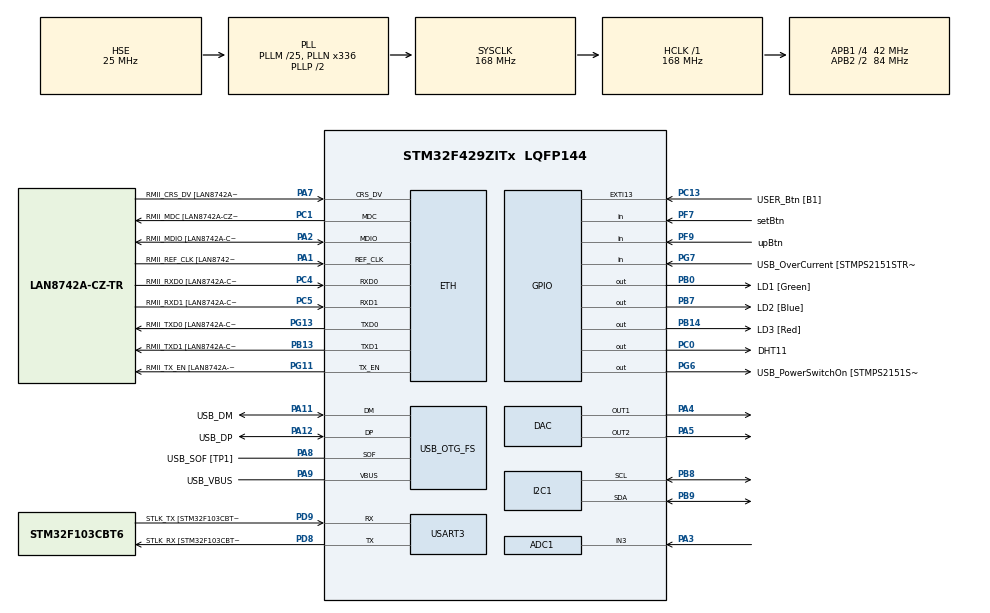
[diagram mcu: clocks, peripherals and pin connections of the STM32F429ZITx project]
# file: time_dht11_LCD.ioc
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ADC1.Channel-0\#ChannelRegularConversion=ADC_CHANNEL_3
ADC1.NbrOfConversionFlag=1
ADC1.Rank-0\#ChannelRegularConversion=1
ADC1.SamplingTime-0\#ChannelRegularConversion=ADC_SAMPLETIME_3CYCLES
ADC1.master=1
ETH.MediaInterface=HAL_ETH_RMII_MODE
ETH.PHY_Name=LAN8742A_PHY_ADDRESS
ETH.PHY_Value=0
ETH.PhyAddress=0
Mcu.Family=STM32F4
Mcu.Name=STM32F429ZITx
Mcu.Package=LQFP144
NVIC.PriorityGroup=NVIC_PRIORITYGROUP_4
NVIC.RTC_Alarm_IRQn=true\:0\:0\:false\:true\:true\:1\:true\:true\:true
NVIC.TIM2_IRQn=true\:0\:0\:false\:true\:true\:2\:true\:true\:true
PA1.GPIO_Label=RMII_REF_CLK [LAN8742A-CZ-TR_REFCLK0]
PA1.Mode=RMII
PA1.Signal=ETH_REF_CLK
PA10.GPIO_Label=USB_ID
PA10.Signal=USB_OTG_FS_ID
PA11.GPIO_Label=USB_DM
PA11.Mode=Device_Only
PA11.Signal=USB_OTG_FS_DM
PA12.GPIO_Label=USB_DP
PA12.Mode=Device_Only
PA12.Signal=USB_OTG_FS_DP
PA13.GPIO_Label=TMS
PA13.Mode=Serial_Wire
PA13.Signal=SYS_JTMS-SWDIO
PA14.GPIO_Label=TCK
PA14.Mode=Serial_Wire
PA14.Signal=SYS_JTCK-SWCLK
PA2.GPIO_Label=RMII_MDIO [LAN8742A-CZ-TR_MDIO]
PA2.Mode=RMII
PA2.Signal=ETH_MDIO
PA3.Signal=ADCx_IN3
PA4.Signal=COMP_DAC1_group
PA5.Signal=COMP_DAC2_group
PA7.GPIO_Label=RMII_CRS_DV [LAN8742A-CZ-TR_CRS_DV]
PA7.Mode=RMII
PA7.Signal=ETH_CRS_DV
PA8.GPIO_Label=USB_SOF [TP1]
PA8.Mode=Activate_SOF_FS
PA8.Signal=USB_OTG_FS_SOF
PA9.GPIO_Label=USB_VBUS
PA9.Mode=Activate_VBUS
PA9.Signal=USB_OTG_FS_VBUS
PB0.GPIO_Label=LD1 [Green]
PB0.Signal=GPIO_Output
PB13.GPIO_Label=RMII_TXD1 [LAN8742A-CZ-TR_TXD1]
PB13.Mode=RMII
PB13.Signal=ETH_TXD1
PB14.GPIO_Label=LD3 [Red]
PB14.Signal=GPIO_Output
PB7.GPIO_Label=LD2 [Blue]
PB7.Signal=GPIO_Output
PB8.Mode=I2C
PB8.Signal=I2C1_SCL
PB9.Mode=I2C
PB9.Signal=I2C1_SDA
PC0.GPIO_Label=DHT11
PC0.GPIO_Speed=GPIO_SPEED_FREQ_LOW
PC0.PinState=GPIO_PIN_SET
PC0.Signal=GPIO_Output
PC1.GPIO_Label=RMII_MDC [LAN8742A-CZ-TR_MDC]
PC1.Mode=RMII
PC1.Signal=ETH_MDC
PC13.GPIO_Label=USER_Btn [B1]
PC13.Signal=GPXTI13
PC14/OSC32_IN.Mode=LSE-External-Oscillator
PC14/OSC32_IN.Signal=RCC_OSC32_IN
PC15/OSC32_OUT.Mode=LSE-External-Oscillator
PC15/OSC32_OUT.Signal=RCC_OSC32_OUT
PC4.GPIO_Label=RMII_RXD0 [LAN8742A-CZ-TR_RXD0]
PC4.Mode=RMII
PC4.Signal=ETH_RXD0
PC5.GPIO_Label=RMII_RXD1 [LAN8742A-CZ-TR_RXD1]
PC5.Mode=RMII
PC5.Signal=ETH_RXD1
PD8.GPIO_Label=STLK_RX [STM32F103CBT6_PA3]
PD8.Mode=Asynchronous
PD8.Signal=USART3_TX
PD9.GPIO_Label=STLK_TX [STM32F103CBT6_PA2]
PD9.Mode=Asynchronous
PD9.Signal=USART3_RX
PF7.GPIO_Label=setBtn
PF7.GPIO_PuPd=GPIO_PULLUP
PF7.Signal=GPIO_Input
PF9.GPIO_Label=upBtn
PF9.GPIO_PuPd=GPIO_PULLUP
PF9.Signal=GPIO_Input
PG11.GPIO_Label=RMII_TX_EN [LAN8742A-CZ-TR_TXEN]
PG11.Mode=RMII
PG11.Signal=ETH_TX_EN
PG13.GPIO_Label=RMII_TXD0 [LAN8742A-CZ-TR_TXD0]
PG13.Mode=RMII
PG13.Signal=ETH_TXD0
PG6.GPIO_Label=USB_PowerSwitchOn [STMPS2151STR_EN]
PG6.Signal=GPIO_Output
PG7.GPIO_Label=USB_OverCurrent [STMPS2151STR_FAULT]
PG7.Signal=GPIO_Input
PH0/OSC_IN.GPIO_Label=MCO [STM32F103CBT6_PA8]
PH0/OSC_IN.Mode=HSE-External-Clock-Source
PH0/OSC_IN.Signal=RCC_OSC_IN
PH1/OSC_OUT.Mode=HSE-External-Clock-Source
PH1/OSC_OUT.Signal=RCC_OSC_OUT
ProjectManager.HeapSize=0x200
ProjectManager.StackSize=0x400
ProjectManager.TargetToolchain=STM32CubeIDE
RCC.48MHZClocksFreq_Value=48000000
RCC.AHBFreq_Value=168000000
RCC.APB1CLKDivider=RCC_HCLK_DIV4
RCC.APB1Freq_Value=42000000
RCC.APB1TimFreq_Value=84000000
RCC.APB2CLKDivider=RCC_HCLK_DIV2
RCC.APB2Freq_Value=84000000
RCC.APB2TimFreq_Value=168000000
RCC.CortexFreq_Value=168000000
RCC.HCLKFreq_Value=168000000
RCC.HSE_VALUE=25000000
RCC.HSI_VALUE=16000000
RCC.PLLM=25
RCC.PLLMUL=RCC_PLL_MUL9
RCC.PLLN=336
RCC.PLLQ=7
RCC.PRESCALERUSB=RCC_USBCLKSOURCE_PLL_DIV1_5
RCC.RCC_RTC_Clock_Source=RCC_RTCCLKSOURCE_LSE
RCC.RCC_RTC_Clock_SourceVirtual=RCC_RTCCLKSOURCE_LSE
RCC.SYSCLKFreq_VALUE=168000000
RCC.SYSCLKSource=RCC_SYSCLKSOURCE_PLLCLK
RCC.SYSCLKSourceVirtual=RCC_SYSCLKSOURCE_PLLCLK
RCC.USBFreq_Value=48000000
RCC.VCOOutputFreq_Value=336000000
RTC.Alarm=RTC_ALARM_A
RTC.HourFormat=RTC_HOURFORMAT_12
RTC.Hours=12
RTC.TimeFormat=RTC_HOURFORMAT12_PM
RTC.Year=23
SH.ADCx_IN3.0=ADC1_IN3,IN3
SH.COMP_DAC1_group.0=DAC_OUT1,DAC_OUT1
SH.COMP_DAC2_group.0=DAC_OUT2,DAC_OUT2
TIM2.Period=50000-1
TIM2.Prescaler=8400-1
USART3.VirtualMode=VM_ASYNC
USB_OTG_FS.VirtualMode=Device_Only
VP_RTC_VS_RTC_Activate.Mode=RTC_Enabled
VP_RTC_VS_RTC_Alarm_A_Intern.Mode=Alarm A
VP_RTC_VS_RTC_Calendar.Mode=RTC_Calendar
VP_TIM2_VS_ClockSourceINT.Mode=Internal
board=NUCLEO-F429ZI

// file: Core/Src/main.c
/* USER CODE BEGIN Header */
/**
  ******************************************************************************
  * @file           : main.c
  * @brief          : Main program body
  ******************************************************************************
  * @attention
  *
  * Copyright (c) 2023 STMicroelectronics.
  * All rights reserved.
  *
  * This software is licensed under terms that can be found in the LICENSE file
  * in the root directory of this software component.
  * If no LICENSE file comes with this software, it is provided AS-IS.
  *
  ******************************************************************************
  */
/* USER CODE END Header */
#include "main.h"
#include "string.h"

/* USER CODE BEGIN Includes */
#include "stdio.h"
#include "string.h"
/* USER CODE END Includes */

ETH_TxPacketConfig TxConfig;
ETH_DMADescTypeDef  DMARxDscrTab[ETH_RX_DESC_CNT]; /* Ethernet Rx DMA Descriptors */
ETH_DMADescTypeDef  DMATxDscrTab[ETH_TX_DESC_CNT]; /* Ethernet Tx DMA Descriptors */

ADC_HandleTypeDef hadc1;

DAC_HandleTypeDef hdac;

ETH_HandleTypeDef heth;

I2C_HandleTypeDef hi2c1;

RTC_HandleTypeDef hrtc;

TIM_HandleTypeDef htim2;

UART_HandleTypeDef huart3;

PCD_HandleTypeDef hpcd_USB_OTG_FS;

/* USER CODE BEGIN PV */
RTC_DateTypeDef sDate;
RTC_TimeTypeDef sTime;
char showTime[30] = {0};
char showDate[30] = {0};
char ampm[2][3] = {"AM", "PM"};
/* USER CODE END PV */

void SystemClock_Config(void);
static void MX_GPIO_Init(void);
static void MX_ETH_Init(void);
static void MX_USART3_UART_Init(void);
static void MX_USB_OTG_FS_PCD_Init(void);
static void MX_I2C1_Init(void);
static void MX_ADC1_Init(void);
static void MX_DAC_Init(void);
static void MX_RTC_Init(void);
static void MX_TIM2_Init(void);
static void MX_NVIC_Init(void);
/* USER CODE BEGIN PFP */
int _write(int file, char *ptr, int len) {
	HAL_UART_Transmit(&huart3, (uint8_t *)ptr, len, 500);
	return len;
}

int __io_putchar(int ch) {
	HAL_UART_Transmit(&huart3, (uint8_t *)&ch, 1, 1000);
	return ch;
}
/* USER CODE END PFP */

/* USER CODE BEGIN 0 */
extern void I2C_Scan(void);
void init();

//void delay(uint16_t time) {
//	__HAL_TIM_SET_COUNTER(&htim2, 0);
//	while ((__HAL_TIM_GET_COUNTER(&htim2)) < time);
//}
//
//uint8_t Rh_byte1, Rh_byte2, Temp_byte1, Temp_byte2;
//uint16_t SUM, RH, TEMP;
//
//float Temperature = 0;
//float Humidity = 0;
//uint8_t Presence = 0;
//
//void Set_Pin_Output(GPIO_TypeDef *GPIOx, uint16_t GPIO_Pin) {
//	GPIO_InitTypeDef GPIO_InitStruct = {0};
//	GPIO_InitStruct.Pin = GPIO_Pin;
//	GPIO_InitStruct.Mode = GPIO_MODE_OUTPUT_PP;
//	GPIO_InitStruct.Speed = GPIO_SPEED_FREQ_LOW;
//	HAL_GPIO_Init(GPIOx, &GPIO_InitStruct);
//}
//void Set_Pin_Input(GPIO_TypeDef *GPIOx, uint16_t GPIO_Pin) {
//	GPIO_InitTypeDef GPIO_InitStruct = {0};
//	GPIO_InitStruct.Pin = GPIO_Pin;
//	GPIO_InitStruct.Mode = GPIO_MODE_INPUT;
//	GPIO_InitStruct.Pull = GPIO_NOPULL;
//	HAL_GPIO_Init(GPIOx, &GPIO_InitStruct);
//}
//
//#define DHT11_PORT GPIOC
//#define DHT11_PIN GPIO_PIN_0
//
//void DHT11_Start (void)
//{
//	Set_Pin_Output(DHT11_PORT, DHT11_PIN);  // set the pin as output
//	HAL_GPIO_WritePin (DHT11_PORT, DHT11_PIN, 0);   // pull the pin low
//	delay (18000);   // wait for 18ms
//	Set_Pin_Input(GPIOC, DHT11_Pin);    // set as input
//}
//uint8_t DHT11_Check_Response (void) {
//	uint8_t Response = 0;
//	delay(40);
//	if (!(HAL_GPIO_ReadPin(DHT11_PORT, DHT11_PIN))) {
//		delay(80);
//		if ((HAL_GPIO_ReadPin (DHT11_PORT, DHT11_PIN))) Response = 1;
//		else Response = -1; // 255
//	}
//	while ((HAL_GPIO_ReadPin (DHT11_PORT, DHT11_PIN)));
//
//	return Response;
//}
//
//uint8_t DHT11_Read(void) {
//	uint8_t i, j;
//	for (j = 0; j < 8; j++) {
//		while (!(HAL_GPIO_ReadPin(GPIOC, DHT11_PIN)));
//		delay(20);
//		if (!(HAL_GPIO_ReadPin(DHT11_PORT, DHT11_PIN))) // if the pin is low
//		{
//			i &= ~(1 << (7 - j));   // write 0
//		} else
//			i |= (1 << (7 - j));  // if the pin is high, write 1
//		while ((HAL_GPIO_ReadPin(DHT11_PORT, DHT11_PIN)));
//	}
//	return i;
//}

#define LCD_ADDR (0x27 << 1)

//void Display_Temp (float Temp) {
//	char str[20] = {0};
//	sprintf(str, "TEMP:- %.2f C", Temp);
//	LCD_SendCommand(LCD_ADDR, 0b10000000);
//	LCD_SendString(LCD_ADDR, str);
//}
//
//void Display_Rh (float Rh) {
//	char str[20] = {0};
//	sprintf(str, "RH:- %.2f %%", Rh);
//	LCD_SendCommand(LCD_ADDR, 0b11000000);
//	LCD_SendString(LCD_ADDR, str);
//}
void get_time(void) {
//	RTC_DateTypeDef sDate;
//	RTC_TimeTypeDef sTime;

	HAL_RTC_GetTime(&hrtc, &sTime, RTC_FORMAT_BIN);
	HAL_RTC_GetDate(&hrtc, &sDate, RTC_FORMAT_BIN);

	sprintf((char *)showTime, "%s %02d : %02d : %02d", ampm[sTime.TimeFormat], sTime.Hours, sTime.Minutes, sTime.Seconds);
	sprintf((char *)showDate, "%04d-%02d-%02d", 2000 + sDate.Year, sDate.Month, sDate.Date);
}

//void set_time(uint8_t hh, uint8_t mm, uint8_t ss) {
//	RTC_TimeTypeDef sTime;
//
//	sTime.Hours = hh; // set hours
//	sTime.Minutes = mm; // set minutes
//	sTime.Seconds = ss; // set seconds
//
//	HAL_RTC_SetTime(&hrtc, &sTime, RTC_FORMAT_BIN);
//}

void set_Date(uint8_t ww, uint8_t mm, uint8_t dd, uint8_t yy) {
	RTC_DateTypeDef sDate;

	sDate.WeekDay = ww; // date RTC_WEEKDAY_THURSDAY
	sDate.Month = mm; // month RTC_MONTH_FEBRUARY
	sDate.Date = dd; // date
	sDate.Year = yy; // year

	HAL_RTC_SetDate(&hrtc, &sDate, RTC_FORMAT_BIN);
}

/* USER CODE END 0 */

int main(void)
{

  /* MCU Configuration--------------------------------------------------------*/

  /* Reset of all peripherals, Initializes the Flash interface and the Systick. */
  HAL_Init();

  /* Configure the system clock */
  SystemClock_Config();

  /* Initialize all configured peripherals */
  MX_GPIO_Init();
  MX_ETH_Init();
  MX_USART3_UART_Init();
  MX_USB_OTG_FS_PCD_Init();
  MX_I2C1_Init();
  MX_ADC1_Init();
  MX_DAC_Init();
  MX_RTC_Init();
  MX_TIM2_Init();

  /* Initialize interrupts */
  MX_NVIC_Init();
  /* USER CODE BEGIN 2 */
//  set_time(11, 59, 50);
  set_Date(RTC_WEEKDAY_MONDAY, 10, 27, 23);
//	init();

	I2C_Scan();
	LCD_Init(LCD_ADDR);
	int setmode = 0;

	uint32_t current_tick_1;
	uint32_t current_tick_2;
	uint32_t old_tick_1;
	uint32_t old_tick_2;

	void setModeCheck(int n) {
		if (n == 1) {
			HAL_GPIO_WritePin(GPIOB, LD1_Pin, 1);
			HAL_GPIO_WritePin(GPIOB, LD2_Pin, 0);
			HAL_GPIO_WritePin(GPIOB, LD3_Pin, 0);
		}
		else if (n == 2) {
			HAL_GPIO_WritePin(GPIOB, LD1_Pin, 0);
			HAL_GPIO_WritePin(GPIOB, LD2_Pin, 1);
			HAL_GPIO_WritePin(GPIOB, LD3_Pin, 0);
		}
		else if (n == 3) {
			HAL_GPIO_WritePin(GPIOB, LD1_Pin, 0);
			HAL_GPIO_WritePin(GPIOB, LD2_Pin, 0);
			HAL_GPIO_WritePin(GPIOB, LD3_Pin, 1);
		}
		else {
			HAL_GPIO_WritePin(GPIOB, LD3_Pin, 0);
		}
	}
	HAL_TIM_Base_Start(&htim2);

  /* USER CODE END 2 */

  /* Infinite loop */
  /* USER CODE BEGIN WHILE */
  while (1)
  {
	setModeCheck(setmode);
	get_time();
	// set address to 0x00
	LCD_SendCommand(LCD_ADDR, 0b10000000);
	LCD_SendString(LCD_ADDR, showDate);

	// set address to 0x40
	LCD_SendCommand(LCD_ADDR, 0b11000000);
	LCD_SendString(LCD_ADDR, showTime);

	if (HAL_GPIO_ReadPin(GPIOF, setBtn_Pin) == 0) {
		current_tick_1 = HAL_GetTick();
	}
	if (HAL_GPIO_ReadPin(GPIOF, upBtn_Pin) == 0) {
		current_tick_2 = HAL_GetTick();
	}

	if (HAL_GPIO_ReadPin(GPIOF, setBtn_Pin) == 0 && (current_tick_1 - old_tick_1 > 300) ) {
		  setmode++;
		  if (setmode == 4) setmode = 0;
		  old_tick_1 = current_tick_1;
	}

	if (setmode == 0) {
//		HAL_Delay(1000);
	}
	else if (HAL_GPIO_ReadPin(GPIOF, upBtn_Pin) == 0 && (current_tick_2 - old_tick_2 > 300)) {
		if (setmode == 1) sTime.Hours = (sTime.Hours + 1) % 13;
		if (setmode == 2) sTime.Minutes = (sTime.Minutes + 1) % 60;
		if (setmode == 3) sTime.Seconds = (sTime.Seconds + 1) % 60;

		HAL_RTC_SetTime(&hrtc, &sTime, RTC_FORMAT_BIN);
		old_tick_2 = current_tick_2;
   }

    /* USER CODE END WHILE */

  }
}

void SystemClock_Config(void)
{
  RCC_OscInitTypeDef RCC_OscInitStruct = {0};
  RCC_ClkInitTypeDef RCC_ClkInitStruct = {0};

  /** Configure the main internal regulator output voltage
  */
  __HAL_RCC_PWR_CLK_ENABLE();
  __HAL_PWR_VOLTAGESCALING_CONFIG(PWR_REGULATOR_VOLTAGE_SCALE1);

  /** Initializes the RCC Oscillators according to the specified parameters
  * in the RCC_OscInitTypeDef structure.
  */
  RCC_OscInitStruct.OscillatorType = RCC_OSCILLATORTYPE_HSE|RCC_OSCILLATORTYPE_LSE;
  RCC_OscInitStruct.HSEState = RCC_HSE_BYPASS;
  RCC_OscInitStruct.LSEState = RCC_LSE_ON;
  RCC_OscInitStruct.PLL.PLLState = RCC_PLL_ON;
  RCC_OscInitStruct.PLL.PLLSource = RCC_PLLSOURCE_HSE;
  RCC_OscInitStruct.PLL.PLLM = 25;
  RCC_OscInitStruct.PLL.PLLN = 336;
  RCC_OscInitStruct.PLL.PLLP = RCC_PLLP_DIV2;
  RCC_OscInitStruct.PLL.PLLQ = 7;
  if (HAL_RCC_OscConfig(&RCC_OscInitStruct) != HAL_OK)
  {
    Error_Handler();
  }

  /** Initializes the CPU, AHB and APB buses clocks
  */
  RCC_ClkInitStruct.ClockType = RCC_CLOCKTYPE_HCLK|RCC_CLOCKTYPE_SYSCLK
                              |RCC_CLOCKTYPE_PCLK1|RCC_CLOCKTYPE_PCLK2;
  RCC_ClkInitStruct.SYSCLKSource = RCC_SYSCLKSOURCE_PLLCLK;
  RCC_ClkInitStruct.AHBCLKDivider = RCC_SYSCLK_DIV1;
  RCC_ClkInitStruct.APB1CLKDivider = RCC_HCLK_DIV4;
  RCC_ClkInitStruct.APB2CLKDivider = RCC_HCLK_DIV2;

  if (HAL_RCC_ClockConfig(&RCC_ClkInitStruct, FLASH_LATENCY_5) != HAL_OK)
  {
    Error_Handler();
  }
}

/**
  * @brief NVIC Configuration.
  * @retval None
  */
static void MX_NVIC_Init(void)
{
  /* RTC_Alarm_IRQn interrupt configuration */
  HAL_NVIC_SetPriority(RTC_Alarm_IRQn, 0, 0);
  HAL_NVIC_EnableIRQ(RTC_Alarm_IRQn);
  /* TIM2_IRQn interrupt configuration */
  HAL_NVIC_SetPriority(TIM2_IRQn, 0, 0);
  HAL_NVIC_EnableIRQ(TIM2_IRQn);
}

static void MX_ADC1_Init(void)
{

  ADC_ChannelConfTypeDef sConfig = {0};

  /** Configure the global features of the ADC (Clock, Resolution, Data Alignment and number of conversion)
  */
  hadc1.Instance = ADC1;
  hadc1.Init.ClockPrescaler = ADC_CLOCK_SYNC_PCLK_DIV4;
  hadc1.Init.Resolution = ADC_RESOLUTION_12B;
  hadc1.Init.ScanConvMode = DISABLE;
  hadc1.Init.ContinuousConvMode = DISABLE;
  hadc1.Init.DiscontinuousConvMode = DISABLE;
  hadc1.Init.ExternalTrigConvEdge = ADC_EXTERNALTRIGCONVEDGE_NONE;
  hadc1.Init.ExternalTrigConv = ADC_SOFTWARE_START;
  hadc1.Init.DataAlign = ADC_DATAALIGN_RIGHT;
  hadc1.Init.NbrOfConversion = 1;
  hadc1.Init.DMAContinuousRequests = DISABLE;
  hadc1.Init.EOCSelection = ADC_EOC_SINGLE_CONV;
  if (HAL_ADC_Init(&hadc1) != HAL_OK)
  {
    Error_Handler();
  }

  /** Configure for the selected ADC regular channel its corresponding rank in the sequencer and its sample time.
  */
  sConfig.Channel = ADC_CHANNEL_3;
  sConfig.Rank = 1;
  sConfig.SamplingTime = ADC_SAMPLETIME_3CYCLES;
  if (HAL_ADC_ConfigChannel(&hadc1, &sConfig) != HAL_OK)
  {
    Error_Handler();
  }

}

static void MX_DAC_Init(void)
{

  DAC_ChannelConfTypeDef sConfig = {0};

  /** DAC Initialization
  */
  hdac.Instance = DAC;
  if (HAL_DAC_Init(&hdac) != HAL_OK)
  {
    Error_Handler();
  }

  /** DAC channel OUT1 config
  */
  sConfig.DAC_Trigger = DAC_TRIGGER_NONE;
  sConfig.DAC_OutputBuffer = DAC_OUTPUTBUFFER_ENABLE;
  if (HAL_DAC_ConfigChannel(&hdac, &sConfig, DAC_CHANNEL_1) != HAL_OK)
  {
    Error_Handler();
  }

  /** DAC channel OUT2 config
  */
  if (HAL_DAC_ConfigChannel(&hdac, &sConfig, DAC_CHANNEL_2) != HAL_OK)
  {
    Error_Handler();
  }

}

static void MX_ETH_Init(void)
{

   static uint8_t MACAddr[6];

  heth.Instance = ETH;
  MACAddr[0] = 0x00;
  MACAddr[1] = 0x80;
  MACAddr[2] = 0xE1;
  MACAddr[3] = 0x00;
  MACAddr[4] = 0x00;
  MACAddr[5] = 0x00;
  heth.Init.MACAddr = &MACAddr[0];
  heth.Init.MediaInterface = HAL_ETH_RMII_MODE;
  heth.Init.TxDesc = DMATxDscrTab;
  heth.Init.RxDesc = DMARxDscrTab;
  heth.Init.RxBuffLen = 1524;

  if (HAL_ETH_Init(&heth) != HAL_OK)
  {
    Error_Handler();
  }

  memset(&TxConfig, 0 , sizeof(ETH_TxPacketConfig));
  TxConfig.Attributes = ETH_TX_PACKETS_FEATURES_CSUM | ETH_TX_PACKETS_FEATURES_CRCPAD;
  TxConfig.ChecksumCtrl = ETH_CHECKSUM_IPHDR_PAYLOAD_INSERT_PHDR_CALC;
  TxConfig.CRCPadCtrl = ETH_CRC_PAD_INSERT;

}

static void MX_I2C1_Init(void)
{

  hi2c1.Instance = I2C1;
  hi2c1.Init.ClockSpeed = 100000;
  hi2c1.Init.DutyCycle = I2C_DUTYCYCLE_2;
  hi2c1.Init.OwnAddress1 = 0;
  hi2c1.Init.AddressingMode = I2C_ADDRESSINGMODE_7BIT;
  hi2c1.Init.DualAddressMode = I2C_DUALADDRESS_DISABLE;
  hi2c1.Init.OwnAddress2 = 0;
  hi2c1.Init.GeneralCallMode = I2C_GENERALCALL_DISABLE;
  hi2c1.Init.NoStretchMode = I2C_NOSTRETCH_DISABLE;
  if (HAL_I2C_Init(&hi2c1) != HAL_OK)
  {
    Error_Handler();
  }

  /** Configure Analogue filter
  */
  if (HAL_I2CEx_ConfigAnalogFilter(&hi2c1, I2C_ANALOGFILTER_ENABLE) != HAL_OK)
  {
    Error_Handler();
  }

  /** Configure Digital filter
  */
  if (HAL_I2CEx_ConfigDigitalFilter(&hi2c1, 0) != HAL_OK)
  {
    Error_Handler();
  }

}

static void MX_RTC_Init(void)
{

  RTC_TimeTypeDef sTime = {0};
  RTC_DateTypeDef sDate = {0};
  RTC_AlarmTypeDef sAlarm = {0};

  /** Initialize RTC Only
  */
  hrtc.Instance = RTC;
  hrtc.Init.HourFormat = RTC_HOURFORMAT_12;
  hrtc.Init.AsynchPrediv = 127;
  hrtc.Init.SynchPrediv = 255;
  hrtc.Init.OutPut = RTC_OUTPUT_DISABLE;
  hrtc.Init.OutPutPolarity = RTC_OUTPUT_POLARITY_HIGH;
  hrtc.Init.OutPutType = RTC_OUTPUT_TYPE_OPENDRAIN;
  if (HAL_RTC_Init(&hrtc) != HAL_OK)
  {
    Error_Handler();
  }

  /** Initialize RTC and set the Time and Date
  */
  sTime.Hours = 0x12;
  sTime.Minutes = 0x0;
  sTime.Seconds = 0x0;
  sTime.TimeFormat = RTC_HOURFORMAT12_PM;
  sTime.DayLightSaving = RTC_DAYLIGHTSAVING_NONE;
  sTime.StoreOperation = RTC_STOREOPERATION_RESET;
  if (HAL_RTC_SetTime(&hrtc, &sTime, RTC_FORMAT_BCD) != HAL_OK)
  {
    Error_Handler();
  }
  sDate.WeekDay = RTC_WEEKDAY_MONDAY;
  sDate.Month = RTC_MONTH_JANUARY;
  sDate.Date = 0x1;
  sDate.Year = 0x23;

  if (HAL_RTC_SetDate(&hrtc, &sDate, RTC_FORMAT_BCD) != HAL_OK)
  {
    Error_Handler();
  }

  /** Enable the Alarm A
  */
  sAlarm.AlarmTime.Hours = 0x1;
  sAlarm.AlarmTime.Minutes = 0x0;
  sAlarm.AlarmTime.Seconds = 0x0;
  sAlarm.AlarmTime.SubSeconds = 0x0;
  sAlarm.AlarmTime.TimeFormat = RTC_HOURFORMAT12_PM;
  sAlarm.AlarmTime.DayLightSaving = RTC_DAYLIGHTSAVING_NONE;
  sAlarm.AlarmTime.StoreOperation = RTC_STOREOPERATION_RESET;
  sAlarm.AlarmMask = RTC_ALARMMASK_NONE;
  sAlarm.AlarmSubSecondMask = RTC_ALARMSUBSECONDMASK_ALL;
  sAlarm.AlarmDateWeekDaySel = RTC_ALARMDATEWEEKDAYSEL_DATE;
  sAlarm.AlarmDateWeekDay = 0x1;
  sAlarm.Alarm = RTC_ALARM_A;
  if (HAL_RTC_SetAlarm_IT(&hrtc, &sAlarm, RTC_FORMAT_BCD) != HAL_OK)
  {
    Error_Handler();
  }

}

static void MX_TIM2_Init(void)
{

  TIM_ClockConfigTypeDef sClockSourceConfig = {0};
  TIM_MasterConfigTypeDef sMasterConfig = {0};

  htim2.Instance = TIM2;
  htim2.Init.Prescaler = 8400-1;
  htim2.Init.CounterMode = TIM_COUNTERMODE_UP;
  htim2.Init.Period = 50000-1;
  htim2.Init.ClockDivision = TIM_CLOCKDIVISION_DIV1;
  htim2.Init.AutoReloadPreload = TIM_AUTORELOAD_PRELOAD_DISABLE;
  if (HAL_TIM_Base_Init(&htim2) != HAL_OK)
  {
    Error_Handler();
  }
  sClockSourceConfig.ClockSource = TIM_CLOCKSOURCE_INTERNAL;
  if (HAL_TIM_ConfigClockSource(&htim2, &sClockSourceConfig) != HAL_OK)
  {
    Error_Handler();
  }
  sMasterConfig.MasterOutputTrigger = TIM_TRGO_RESET;
  sMasterConfig.MasterSlaveMode = TIM_MASTERSLAVEMODE_DISABLE;
  if (HAL_TIMEx_MasterConfigSynchronization(&htim2, &sMasterConfig) != HAL_OK)
  {
    Error_Handler();
  }

}

static void MX_USART3_UART_Init(void)
{

  huart3.Instance = USART3;
  huart3.Init.BaudRate = 115200;
  huart3.Init.WordLength = UART_WORDLENGTH_8B;
  huart3.Init.StopBits = UART_STOPBITS_1;
  huart3.Init.Parity = UART_PARITY_NONE;
  huart3.Init.Mode = UART_MODE_TX_RX;
  huart3.Init.HwFlowCtl = UART_HWCONTROL_NONE;
  huart3.Init.OverSampling = UART_OVERSAMPLING_16;
  if (HAL_UART_Init(&huart3) != HAL_OK)
  {
    Error_Handler();
  }

}

static void MX_USB_OTG_FS_PCD_Init(void)
{

  hpcd_USB_OTG_FS.Instance = USB_OTG_FS;
  hpcd_USB_OTG_FS.Init.dev_endpoints = 4;
  hpcd_USB_OTG_FS.Init.speed = PCD_SPEED_FULL;
  hpcd_USB_OTG_FS.Init.dma_enable = DISABLE;
  hpcd_USB_OTG_FS.Init.phy_itface = PCD_PHY_EMBEDDED;
  hpcd_USB_OTG_FS.Init.Sof_enable = ENABLE;
  hpcd_USB_OTG_FS.Init.low_power_enable = DISABLE;
  hpcd_USB_OTG_FS.Init.lpm_enable = DISABLE;
  hpcd_USB_OTG_FS.Init.vbus_sensing_enable = ENABLE;
  hpcd_USB_OTG_FS.Init.use_dedicated_ep1 = DISABLE;
  if (HAL_PCD_Init(&hpcd_USB_OTG_FS) != HAL_OK)
  {
    Error_Handler();
  }

}

static void MX_GPIO_Init(void)
{
  GPIO_InitTypeDef GPIO_InitStruct = {0};

  /* GPIO Ports Clock Enable */
  __HAL_RCC_GPIOC_CLK_ENABLE();
  __HAL_RCC_GPIOF_CLK_ENABLE();
  __HAL_RCC_GPIOH_CLK_ENABLE();
  __HAL_RCC_GPIOA_CLK_ENABLE();
  __HAL_RCC_GPIOB_CLK_ENABLE();
  __HAL_RCC_GPIOD_CLK_ENABLE();
  __HAL_RCC_GPIOG_CLK_ENABLE();

  /*Configure GPIO pin Output Level */
  HAL_GPIO_WritePin(DHT11_GPIO_Port, DHT11_Pin, GPIO_PIN_SET);

  /*Configure GPIO pin Output Level */
  HAL_GPIO_WritePin(GPIOB, LD1_Pin|LD3_Pin|LD2_Pin, GPIO_PIN_RESET);

  /*Configure GPIO pin Output Level */
  HAL_GPIO_WritePin(USB_PowerSwitchOn_GPIO_Port, USB_PowerSwitchOn_Pin, GPIO_PIN_RESET);

  /*Configure GPIO pin : USER_Btn_Pin */
  GPIO_InitStruct.Pin = USER_Btn_Pin;
  GPIO_InitStruct.Mode = GPIO_MODE_IT_RISING;
  GPIO_InitStruct.Pull = GPIO_NOPULL;
  HAL_GPIO_Init(USER_Btn_GPIO_Port, &GPIO_InitStruct);

  /*Configure GPIO pins : setBtn_Pin upBtn_Pin */
  GPIO_InitStruct.Pin = setBtn_Pin|upBtn_Pin;
  GPIO_InitStruct.Mode = GPIO_MODE_INPUT;
  GPIO_InitStruct.Pull = GPIO_PULLUP;
  HAL_GPIO_Init(GPIOF, &GPIO_InitStruct);

  /*Configure GPIO pin : DHT11_Pin */
  GPIO_InitStruct.Pin = DHT11_Pin;
  GPIO_InitStruct.Mode = GPIO_MODE_OUTPUT_PP;
  GPIO_InitStruct.Pull = GPIO_NOPULL;
  GPIO_InitStruct.Speed = GPIO_SPEED_FREQ_LOW;
  HAL_GPIO_Init(DHT11_GPIO_Port, &GPIO_InitStruct);

  /*Configure GPIO pins : LD1_Pin LD3_Pin LD2_Pin */
  GPIO_InitStruct.Pin = LD1_Pin|LD3_Pin|LD2_Pin;
  GPIO_InitStruct.Mode = GPIO_MODE_OUTPUT_PP;
  GPIO_InitStruct.Pull = GPIO_NOPULL;
  GPIO_InitStruct.Speed = GPIO_SPEED_FREQ_LOW;
  HAL_GPIO_Init(GPIOB, &GPIO_InitStruct);

  /*Configure GPIO pin : USB_PowerSwitchOn_Pin */
  GPIO_InitStruct.Pin = USB_PowerSwitchOn_Pin;
  GPIO_InitStruct.Mode = GPIO_MODE_OUTPUT_PP;
  GPIO_InitStruct.Pull = GPIO_NOPULL;
  GPIO_InitStruct.Speed = GPIO_SPEED_FREQ_LOW;
  HAL_GPIO_Init(USB_PowerSwitchOn_GPIO_Port, &GPIO_InitStruct);

  /*Configure GPIO pin : USB_OverCurrent_Pin */
  GPIO_InitStruct.Pin = USB_OverCurrent_Pin;
  GPIO_InitStruct.Mode = GPIO_MODE_INPUT;
  GPIO_InitStruct.Pull = GPIO_NOPULL;
  HAL_GPIO_Init(USB_OverCurrent_GPIO_Port, &GPIO_InitStruct);

}

/* USER CODE BEGIN 4 */
//void HAL_TIM_PeriodElapsedCallback(TIM_HandleTypeDef *htim) {
//	Display_Temp(Temperature);
//	Display_Rh(Humidity);
//
//	/**************** DHT 11 *********************/
//	DHT11_Start();
//	Presence = DHT11_Check_Response();
//	Rh_byte1 = DHT11_Read();
//	Rh_byte2 = DHT11_Read();
//	Temp_byte1 = DHT11_Read();
//	Temp_byte2 = DHT11_Read();
//	SUM = DHT11_Read();
//
//	TEMP = Temp_byte1;
//	RH = Rh_byte1;
//
//	Temperature = (float) TEMP;
//	Humidity = (float) RH;
//
////		HAL_Delay(1000);
//}
/* USER CODE END 4 */

void Error_Handler(void)
{
  __disable_irq();
  while (1)
  {
  }
}
